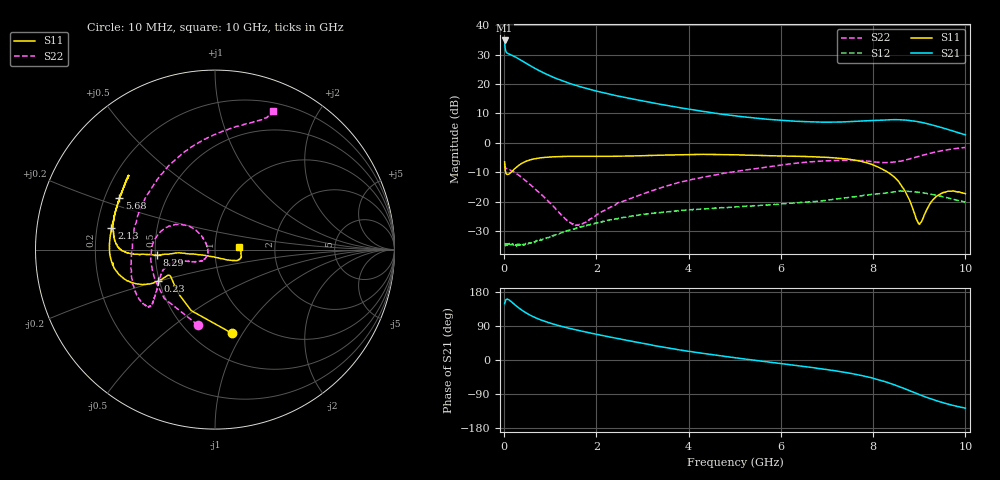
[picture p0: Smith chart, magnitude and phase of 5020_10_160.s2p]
# Hz S  dB  R 50
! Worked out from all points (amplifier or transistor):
!   1000 points, 10 MHz to 10 GHz, reference 50 ohm
!   highest |S21| = 34.8 dB at 10 MHz (marker M1)
!   |S21| within 3 dB of that: start of sweep to 26.26 MHz
!   unconditionally stable (mu >= 1): 60.19 MHz to end of sweep
!   at 1.67 GHz: K = 1.15, MAG = 21.4 dB, |S12| = -28.5 dB
!   at 5.01 GHz: K = 1.11, MAG = 13.5 dB, |S12| = -21.8 dB
!   at 10 GHz: K = 1.11, MAG = 9.4 dB, |S12| = -20.2 dB
!   S11 on the Smith chart (normalised r, x): 10 MHz: 0.75, -0.89; 230 MHz: 0.49, -0.20; 2.13 GHz: 0.26, +0.10; 5.68 GHz: 0.26, +0.24; 8.29 GHz: 0.51, -0.03; 10 GHz: 1.31, +0.04
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1e7  -6.49 -78.8  34.79 148.4  -34.26 38.3  -7.31 -102.8
7e7  -10.79 -148.5  30.47 160.5  -34.86 9.4  -8.91 -174.6
8e7  -10.76 -149.8  30.37 160.2  -34.51 7.9  -8.99 -177.4
1.2e8  -10.43 -151.4  30.09 157.3  -34.97 6.7  -9.18 174.1
2.3e8  -8.81 -151.0  29.30 146.1  -34.52 6.8  -10.10 159.4
3.5e8  -7.32 -153.3  28.24 134.4  -34.80 14.3  -11.44 149.2
4.9e8  -6.20 -157.5  26.92 123.2  -34.32 20.7  -13.22 141.2
6.1e8  -5.63 -161.1  25.80 115.4  -34.14 24.9  -14.83 137.0
7.6e8  -5.17 -165.2  24.53 107.4  -33.31 31.5  -16.92 134.5
9.3e8  -4.90 -169.2  23.22 100.0  -32.38 36.0  -19.41 134.4
1.13e9  -4.73 -173.4  21.86 92.5  -31.21 39.4  -22.75 140.1
1.36e9  -4.64 -177.8  20.52 85.2  -29.99 41.3  -26.41 156.5
1.68e9  -4.60 176.5  18.94 76.2  -28.46 41.6  -27.47 -163.4
2.13e9  -4.60 168.3  17.10 64.6  -26.80 39.6  -23.30 -139.0
3.34e9  -4.25 146.7  13.23 36.3  -23.77 27.0  -15.64 -156.8
5.01e9  -4.08 142.7  9.16 5.8  -21.84 9.6  -9.79 -156.5
5.68e9  -4.36 151.5  8.04 -4.5  -21.25 3.7  -8.29 -146.6
6.67e9  -4.74 168.6  7.09 -19.7  -20.05 -6.0  -6.48 -138.6
8.29e9  -9.74 -174.7  7.77 -58.3  -17.06 -36.9  -6.74 169.8
8.34e9  -10.20 -174.7  7.80 -60.3  -16.94 -38.1  -6.64 165.5
9e9  -27.75 -102.4  7.10 -91.2  -16.83 -66.7  -4.54 101.4
1e10  -17.33 6.6  2.71 -127.1  -20.18 -100.0  -1.56 67.1
